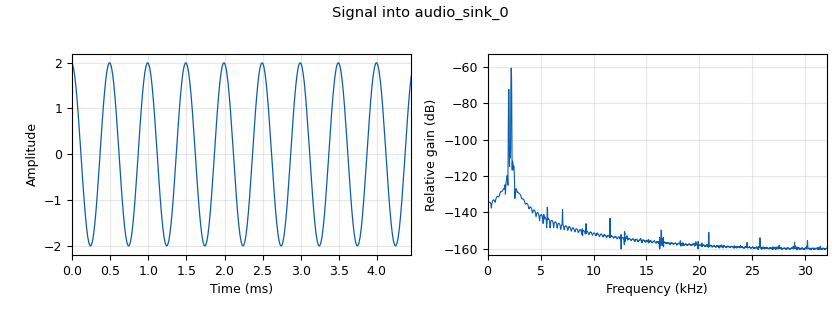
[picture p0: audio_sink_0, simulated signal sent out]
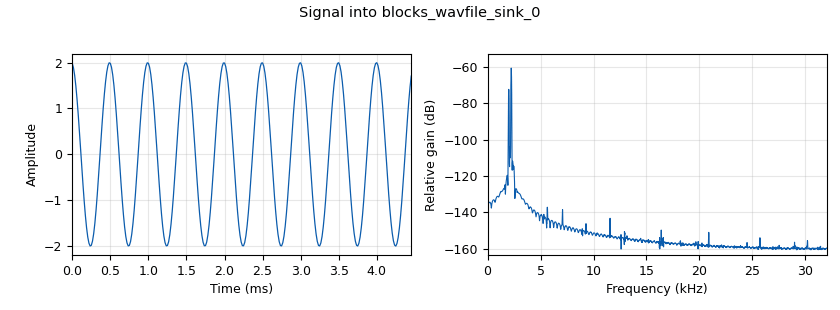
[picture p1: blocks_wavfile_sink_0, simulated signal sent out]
options:
  parameters:
    author: duong
    generate_options: qt_gui
    id: bethoven
    output_language: python
    title: HPBD
  states: {}

blocks:
- name: samp_rate
  id: variable
  parameters:
    value: '64000'
  states: {}
- name: audio_sink_0
  id: audio_sink
  parameters:
    samp_rate: samp_rate
  states: {}
- name: blocks_repeat_0
  id: blocks_repeat
  parameters:
    interp: '32000'
    type: float
  states: {}
- name: blocks_throttle2_0
  id: blocks_throttle2
  parameters:
    samples_per_second: samp_rate
    type: float
  states: {}
- name: blocks_vco_f_0
  id: blocks_vco_f
  parameters:
    amplitude: '2'
    samp_rate: samp_rate
    sensitivity: '32'
  states: {}
- name: blocks_vector_source_x_0
  id: blocks_vector_source_x
  parameters:
    repeat: 'True'
    type: float
    vector: (392.00, 392.00, 587.33, 392.00, 493.88, 440.00, 392.00,392.00, 392.00, 587.33, 392.00, 493.88, 440.00, 392.00,587.33, 659.25, 587.33, 493.88, 392.00, 440.00, 392.00)
  states: {}
- name: blocks_wavfile_sink_0
  id: blocks_wavfile_sink
  parameters:
    bits_per_sample1: FORMAT_PCM_16
    file: /home/duong/Documents/mmm.wav
    format: FORMAT_WAV
    samp_rate: samp_rate
  states: {}

connections:
- [blocks_repeat_0, '0', blocks_vco_f_0, '0']
- [blocks_throttle2_0, '0', audio_sink_0, '0']
- [blocks_throttle2_0, '0', blocks_wavfile_sink_0, '0']
- [blocks_vco_f_0, '0', blocks_throttle2_0, '0']
- [blocks_vector_source_x_0, '0', blocks_repeat_0, '0']

metadata:
  file_format: 1
  grc_version: 3.10.9.2
